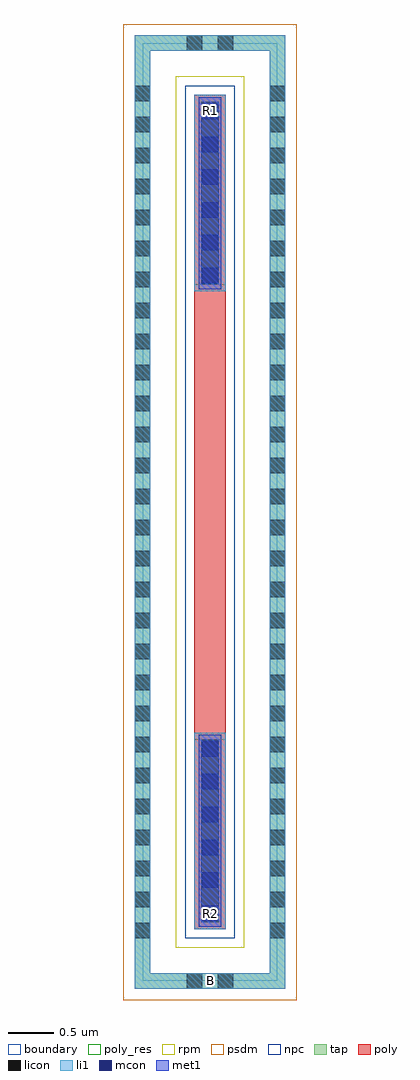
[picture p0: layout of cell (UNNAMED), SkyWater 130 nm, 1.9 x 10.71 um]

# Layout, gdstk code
import gdstk
lib = gdstk.Library(unit=1e-6, precision=1e-09)
def R(c, l, rs):  # rectangles x0, y0, x1, y1
    for r in rs: c.add(gdstk.rectangle(r[:2], r[2:], *l))
def A(c, l, x, y, w, h, nx, ny, dx, dy):  # array of equal rectangles
    R(c, l, [(x+i*dx, y+j*dy, x+i*dx+w, y+j*dy+h) for i in range(nx) for j in range(ny)])
tap = (65, 44)
poly_res = (66, 13)
poly = (66, 20)
licon = (66, 44)
li1 = (67, 20)
mcon = (67, 44)
met1 = (68, 20)
rpm = (86, 20)
psdm = (94, 20)
npc = (95, 20)
boundary = (235, 4)

c__unnamed_ = lib.new_cell('(UNNAMED)')
R(c__unnamed_, tap, [(-0.825,-5.23,0.825,-5.06), (-0.825,-5.06,-0.655,5.06), (0.655,-5.06,0.825,5.06), (-0.825,5.06,0.825,5.23)])
R(c__unnamed_, poly_res, [(-0.175,-2.5,0.175,2.5)])
R(c__unnamed_, poly, [(-0.175,-4.58,0.175,4.58)])
A(c__unnamed_, licon, -0.825, -4.675, 0.17, 0.17, 1, 28, 0, 0.34)
A(c__unnamed_, licon, 0.655, -4.675, 0.17, 0.17, 1, 28, 0, 0.34)
R(c__unnamed_, licon, [(-0.255,-5.23,-0.085,-5.06), (0.085,-5.23,0.255,-5.06), (-0.095,-4.5,0.095,-2.5), (-0.095,2.5,0.095,4.5), (-0.255,5.06,-0.085,5.23), (0.085,5.06,0.255,5.23)])
R(c__unnamed_, li1, [(-0.825,-5.23,0.825,-5.06), (-0.825,-5.06,-0.655,5.06), (0.655,-5.06,0.825,5.06), (-0.175,-4.58,0.175,-2.42), (-0.175,2.42,0.175,4.58), (-0.825,5.06,0.825,5.23)])
A(c__unnamed_, mcon, -0.085, -4.485, 0.17, 0.17, 1, 6, 0, 0.36)
A(c__unnamed_, mcon, -0.085, 2.51, 0.17, 0.17, 1, 6, 0, 0.36)
R(c__unnamed_, met1, [(-0.125,-4.55,0.125,-2.445), (-0.125,2.445,0.125,4.55)])
R(c__unnamed_, rpm, [(-0.375,-4.78,0.375,4.78)])
R(c__unnamed_, psdm, [(-0.95,-5.355,0.95,5.355)])
R(c__unnamed_, npc, [(-0.27,-4.675,0.27,4.675)])
R(c__unnamed_, boundary, [(-0.74,-5.145,0.74,5.145)])
c__unnamed_.add(gdstk.Label('B', (0,-5.145), layer=67, texttype=5))
c__unnamed_.add(gdstk.Label('R1', (0,4.405), layer=67, texttype=5))
c__unnamed_.add(gdstk.Label('R2', (0,-4.405), layer=67, texttype=5))

lib.write_gds('_UNNAMED_.gds')
